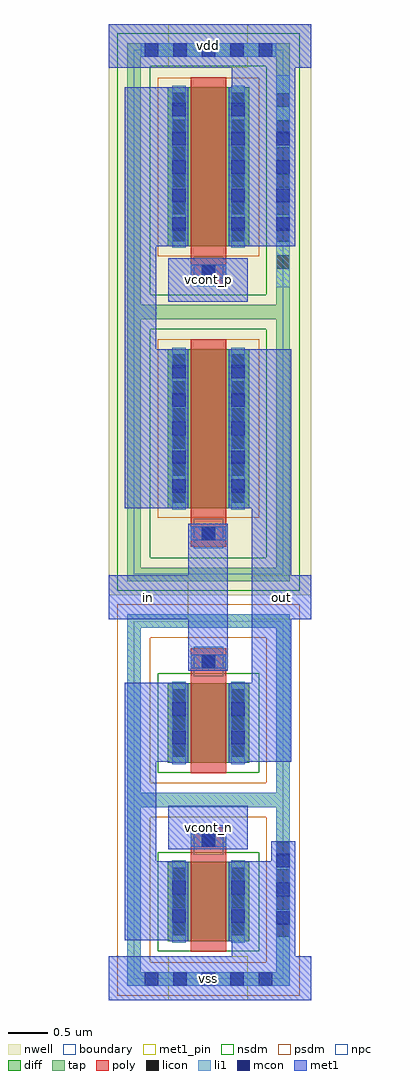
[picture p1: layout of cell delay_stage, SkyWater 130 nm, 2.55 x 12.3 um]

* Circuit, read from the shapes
.subckt delay_stage in out vcont_n vcont_p vdd vss
XM1 vss vcont_n n1 vss sky130_fd_pr__nfet_01v8 w=1 l=0.45
XM2 out in n1 vss sky130_fd_pr__nfet_01v8 w=1 l=0.45
XM3 out in n2 vdd sky130_fd_pr__pfet_01v8 w=2 l=0.45
XM4 vdd vcont_p n2 vdd sky130_fd_pr__pfet_01v8 w=2 l=0.45
.ends

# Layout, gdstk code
import gdstk
lib = gdstk.Library(unit=1e-6, precision=1e-09)
def R(c, l, rs):  # rectangles x0, y0, x1, y1
    for r in rs: c.add(gdstk.rectangle(r[:2], r[2:], *l))
def A(c, l, x, y, w, h, nx, ny, dx, dy):  # array of equal rectangles
    R(c, l, [(x+i*dx, y+j*dy, x+i*dx+w, y+j*dy+h) for i in range(nx) for j in range(ny)])
nwell = (64, 20)
diff = (65, 20)
tap = (65, 44)
poly = (66, 20)
licon = (66, 44)
li1 = (67, 20)
mcon = (67, 44)
met1_pin = (68, 16)
met1 = (68, 20)
nsdm = (93, 44)
psdm = (94, 20)
npc = (95, 20)
boundary = (235, 4)

sky130_fd_pr__pfet_01v8_ = lib.new_cell('sky130_fd_pr__pfet_01v8_38U2ME')
R(sky130_fd_pr__pfet_01v8_, nwell, [(-1.205,-1.92,1.205,1.92)])
R(sky130_fd_pr__pfet_01v8_, diff, [(-0.515,-0.82,0.515,1.18)])
R(sky130_fd_pr__pfet_01v8_, tap, [(-1.025,-1.74,1.025,-1.57), (-1.025,-1.57,-0.855,1.57), (0.855,-1.57,1.025,1.57), (-1.025,1.57,1.025,1.74)])
R(sky130_fd_pr__pfet_01v8_, poly, [(-0.225,-1.305,0.225,1.31)])
A(sky130_fd_pr__pfet_01v8_, licon, 0.855, -1.105, 0.17, 0.17, 1, 7, 0, 0.34)
A(sky130_fd_pr__pfet_01v8_, licon, -0.455, -0.755, 0.17, 0.17, 1, 6, 0, 0.34)
A(sky130_fd_pr__pfet_01v8_, licon, 0.285, -0.755, 0.17, 0.17, 1, 6, 0, 0.34)
R(sky130_fd_pr__pfet_01v8_, licon, [(-0.085,-1.225,0.085,-1.055)])
R(sky130_fd_pr__pfet_01v8_, li1, [(0.855,-1.335,1.025,1.335), (-0.225,-1.225,0.225,-1.055), (-0.455,-0.84,-0.285,1.2), (0.285,-0.84,0.455,1.2), (-0.855,1.57,0.855,1.74)])
A(sky130_fd_pr__pfet_01v8_, mcon, -0.455, -0.625, 0.17, 0.17, 1, 5, 0, 0.36)
A(sky130_fd_pr__pfet_01v8_, mcon, 0.285, -0.625, 0.17, 0.17, 1, 5, 0, 0.36)
A(sky130_fd_pr__pfet_01v8_, mcon, 0.855, -0.625, 0.17, 0.17, 1, 4, 0, 0.36)
A(sky130_fd_pr__pfet_01v8_, mcon, -0.805, 1.57, 0.17, 0.17, 5, 1, 0.36, 0)
R(sky130_fd_pr__pfet_01v8_, mcon, [(-0.085,-1.225,0.085,-1.055)])
R(sky130_fd_pr__pfet_01v8_, met1, [(-0.205,-1.255,0.205,-1.025), (-0.485,-0.82,-0.255,1.18), (0.255,-0.82,0.485,1.18), (0.825,-0.685,1.055,0.685), (-0.915,1.54,0.915,1.77)])
R(sky130_fd_pr__pfet_01v8_, nsdm, [(-1.15,-1.865,1.15,-1.445), (-1.15,-1.445,-0.73,1.445), (0.73,-1.445,1.15,1.445), (-1.15,1.445,1.15,1.865)])
R(sky130_fd_pr__pfet_01v8_, psdm, [(-0.64,-0.945,0.64,1.305)])
R(sky130_fd_pr__pfet_01v8_, npc, [(-0.185,-1.325,0.185,-0.955)])
R(sky130_fd_pr__pfet_01v8_, boundary, [(-0.94,-1.655,0.94,1.655)])

c_sky130_fd_pr__pfet_01v8_ = lib.new_cell('sky130_fd_pr__pfet_01v8_5YCKZA')
R(c_sky130_fd_pr__pfet_01v8_, nwell, [(-1.205,-1.92,1.205,1.92)])
R(c_sky130_fd_pr__pfet_01v8_, diff, [(-0.515,-0.82,0.515,1.18)])
R(c_sky130_fd_pr__pfet_01v8_, tap, [(-1.025,-1.74,1.025,-1.57), (-1.025,-1.57,-0.855,1.57), (0.855,-1.57,1.025,1.57), (-1.025,1.57,1.025,1.74)])
R(c_sky130_fd_pr__pfet_01v8_, poly, [(-0.225,-1.305,0.225,1.31)])
A(c_sky130_fd_pr__pfet_01v8_, licon, -0.455, -0.755, 0.17, 0.17, 1, 6, 0, 0.34)
A(c_sky130_fd_pr__pfet_01v8_, licon, 0.285, -0.755, 0.17, 0.17, 1, 6, 0, 0.34)
R(c_sky130_fd_pr__pfet_01v8_, licon, [(-0.085,-1.225,0.085,-1.055)])
R(c_sky130_fd_pr__pfet_01v8_, li1, [(-0.225,-1.225,0.225,-1.055), (-0.455,-0.84,-0.285,1.2), (0.285,-0.84,0.455,1.2)])
A(c_sky130_fd_pr__pfet_01v8_, mcon, -0.455, -0.625, 0.17, 0.17, 1, 5, 0, 0.36)
A(c_sky130_fd_pr__pfet_01v8_, mcon, 0.285, -0.625, 0.17, 0.17, 1, 5, 0, 0.36)
R(c_sky130_fd_pr__pfet_01v8_, mcon, [(-0.085,-1.225,0.085,-1.055)])
R(c_sky130_fd_pr__pfet_01v8_, met1, [(-0.205,-1.255,0.205,-1.025), (-0.485,-0.82,-0.255,1.18), (0.255,-0.82,0.485,1.18)])
R(c_sky130_fd_pr__pfet_01v8_, nsdm, [(-1.15,-1.865,1.15,-1.445), (-1.15,-1.445,-0.73,1.445), (0.73,-1.445,1.15,1.445), (-1.15,1.445,1.15,1.865)])
R(c_sky130_fd_pr__pfet_01v8_, psdm, [(-0.64,-0.945,0.64,1.305)])
R(c_sky130_fd_pr__pfet_01v8_, npc, [(-0.185,-1.325,0.185,-0.955)])
R(c_sky130_fd_pr__pfet_01v8_, boundary, [(-0.94,-1.655,0.94,1.655)])

sky130_fd_pr__nfet_01v8_ = lib.new_cell('sky130_fd_pr__nfet_01v8_TTGNW2')
R(sky130_fd_pr__nfet_01v8_, diff, [(-0.515,-0.655,0.515,0.345)])
R(sky130_fd_pr__nfet_01v8_, tap, [(-1.025,-1.215,1.025,-1.045), (-1.025,-1.045,-0.855,1.045), (0.855,-1.045,1.025,1.045), (-1.025,1.045,1.025,1.215)])
R(sky130_fd_pr__nfet_01v8_, poly, [(-0.225,-0.785,0.225,0.785)])
A(sky130_fd_pr__nfet_01v8_, licon, 0.855, -0.595, 0.17, 0.17, 1, 4, 0, 0.34)
A(sky130_fd_pr__nfet_01v8_, licon, -0.455, -0.58, 0.17, 0.17, 1, 3, 0, 0.34)
A(sky130_fd_pr__nfet_01v8_, licon, 0.285, -0.58, 0.17, 0.17, 1, 3, 0, 0.34)
R(sky130_fd_pr__nfet_01v8_, licon, [(-0.085,0.535,0.085,0.705)])
R(sky130_fd_pr__nfet_01v8_, li1, [(-1.025,-1.215,1.025,-1.045), (-1.025,-1.045,-0.855,1.045), (0.855,-1.045,1.025,1.045), (-0.455,-0.675,-0.285,0.365), (0.285,-0.675,0.455,0.365), (-0.225,0.535,0.225,0.705), (-1.025,1.045,1.025,1.215)])
A(sky130_fd_pr__nfet_01v8_, mcon, -0.805, -1.215, 0.17, 0.17, 5, 1, 0.36, 0)
A(sky130_fd_pr__nfet_01v8_, mcon, 0.855, -0.445, 0.17, 0.17, 1, 3, 0, 0.36)
R(sky130_fd_pr__nfet_01v8_, mcon, [(-0.455,-0.42,-0.285,-0.25), (0.285,-0.42,0.455,-0.25), (-0.455,-0.06,-0.285,0.11), (0.285,-0.06,0.455,0.11), (-0.085,0.535,0.085,0.705)])
R(sky130_fd_pr__nfet_01v8_, met1, [(-0.915,-1.245,0.915,-1.015), (-0.485,-0.655,-0.255,0.345), (0.255,-0.655,0.485,0.345), (0.825,-0.585,1.055,0.585), (-0.205,0.505,0.205,0.735)])
R(sky130_fd_pr__nfet_01v8_, nsdm, [(-0.64,-0.78,0.64,0.47)])
R(sky130_fd_pr__nfet_01v8_, psdm, [(-1.15,-1.34,1.15,-0.92), (-1.15,-0.92,-0.73,0.92), (0.73,-0.92,1.15,0.92), (-1.15,0.92,1.15,1.34)])
R(sky130_fd_pr__nfet_01v8_, npc, [(-0.185,0.435,0.185,0.805)])
R(sky130_fd_pr__nfet_01v8_, boundary, [(-0.94,-1.13,0.94,1.13)])

c_sky130_fd_pr__nfet_01v8_ = lib.new_cell('sky130_fd_pr__nfet_01v8_46DABQ')
R(c_sky130_fd_pr__nfet_01v8_, diff, [(-0.515,-0.655,0.515,0.345)])
R(c_sky130_fd_pr__nfet_01v8_, tap, [(-1.025,-1.215,1.025,-1.045), (-1.025,-1.045,-0.855,1.045), (0.855,-1.045,1.025,1.045), (-1.025,1.045,1.025,1.215)])
R(c_sky130_fd_pr__nfet_01v8_, poly, [(-0.225,-0.785,0.225,0.785)])
A(c_sky130_fd_pr__nfet_01v8_, licon, -0.455, -0.58, 0.17, 0.17, 1, 3, 0, 0.34)
A(c_sky130_fd_pr__nfet_01v8_, licon, 0.285, -0.58, 0.17, 0.17, 1, 3, 0, 0.34)
R(c_sky130_fd_pr__nfet_01v8_, licon, [(-0.085,0.535,0.085,0.705)])
R(c_sky130_fd_pr__nfet_01v8_, li1, [(-1.025,-1.215,1.025,-1.045), (-1.025,-1.045,-0.855,1.045), (0.855,-1.045,1.025,1.045), (-0.455,-0.675,-0.285,0.365), (0.285,-0.675,0.455,0.365), (-0.225,0.535,0.225,0.705), (-1.025,1.045,1.025,1.215)])
R(c_sky130_fd_pr__nfet_01v8_, mcon, [(-0.455,-0.42,-0.285,-0.25), (0.285,-0.42,0.455,-0.25), (-0.455,-0.06,-0.285,0.11), (0.285,-0.06,0.455,0.11), (-0.085,0.535,0.085,0.705)])
R(c_sky130_fd_pr__nfet_01v8_, met1, [(-0.485,-0.655,-0.255,0.345), (0.255,-0.655,0.485,0.345), (-0.205,0.505,0.205,0.735)])
R(c_sky130_fd_pr__nfet_01v8_, nsdm, [(-0.64,-0.78,0.64,0.47)])
R(c_sky130_fd_pr__nfet_01v8_, psdm, [(-1.15,-1.34,1.15,-0.92), (-1.15,-0.92,-0.73,0.92), (0.73,-0.92,1.15,0.92), (-1.15,0.92,1.15,1.34)])
R(c_sky130_fd_pr__nfet_01v8_, npc, [(-0.185,0.435,0.185,0.805)])
R(c_sky130_fd_pr__nfet_01v8_, boundary, [(-0.94,-1.13,0.94,1.13)])

delay_stage = lib.new_cell('delay_stage')
R(delay_stage, nwell, [(5.55,-8.25,8.1,-1.05)])
R(delay_stage, met1_pin, [(6.3,-13.35,7.3,-12.8), (6.3,-11.45,7.3,-10.9), (5.55,-8.55,6.55,-8), (7.35,-8.55,8.1,-8), (6.3,-4.55,7.3,-4), (6.3,-1.6,7.3,-1.05)])
R(delay_stage, met1, [(5.55,-13.35,8.1,-12.8), (7.1,-12.8,7.9,-11.6), (5.75,-12.6,6.5,-11.6), (5.75,-11.6,6.15,-10.35), (7.6,-11.6,7.9,-11.35), (6.3,-11.45,7.3,-10.9), (5.75,-10.35,6.5,-9.35), (7.1,-10.35,7.85,-9.35), (7.35,-9.35,7.85,-8.55), (6.55,-9.2,7.05,-8.55), (5.55,-8.55,7.05,-8), (7.35,-8.55,8.1,-8), (6.55,-8,7.05,-7.35), (7.35,-8,7.85,-7.15), (5.75,-7.15,6.5,-5.15), (7.1,-7.15,7.85,-5.15), (5.75,-5.15,6.15,-3.85), (6.3,-4.55,7.3,-4), (5.75,-3.85,6.5,-1.85), (7.1,-3.85,7.9,-1.6), (5.55,-1.6,8.1,-1.05)])
delay_stage.add(gdstk.Reference(sky130_fd_pr__pfet_01v8_, (6.805,-3.03)))
delay_stage.add(gdstk.Reference(c_sky130_fd_pr__pfet_01v8_, (6.805,-6.33)))
delay_stage.add(gdstk.Reference(sky130_fd_pr__nfet_01v8_, (6.805,-11.955)))
delay_stage.add(gdstk.Reference(c_sky130_fd_pr__nfet_01v8_, (6.805,-9.705)))
delay_stage.add(gdstk.Label('vdd', (6.8,-1.325), layer=68, texttype=5))
delay_stage.add(gdstk.Label('vcont_p', (6.8,-4.275), layer=68, texttype=5))
delay_stage.add(gdstk.Label('out', (7.725,-8.275), layer=68, texttype=5))
delay_stage.add(gdstk.Label('in', (6.05,-8.275), layer=68, texttype=5))
delay_stage.add(gdstk.Label('vcont_n', (6.8,-11.175), layer=68, texttype=5))
delay_stage.add(gdstk.Label('vss', (6.8,-13.075), layer=68, texttype=5))

lib.write_gds('delay_stage.gds')
